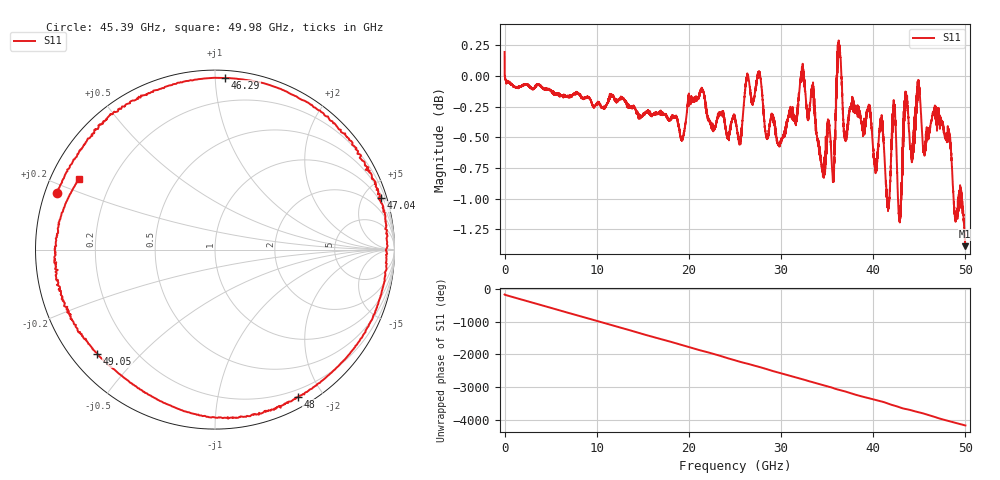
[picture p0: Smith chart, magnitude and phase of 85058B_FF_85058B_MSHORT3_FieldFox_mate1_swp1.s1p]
!Created with skrf (http://scikit-rf.org).
# Hz S RI R 50.0
!freq ReS11 ImS11
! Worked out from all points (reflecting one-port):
!   10001 points, 300 kHz to 50 GHz, reference 50 ohm
!   lowest |S11| = -1.4 dB at 49.99 GHz (marker M1), VSWR 12.55, Z = 4.23 + j12.3 ohm
!   phase of S11 starts at -175 deg and turns -3994 deg over the sweep
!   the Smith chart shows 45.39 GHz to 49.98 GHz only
!   S11 on the Smith chart (normalised r, x): 45.39 GHz: 0.03, +0.17; 46.29 GHz: 0.05, +1.06; 47.04 GHz: 0.76, +6.51; 48 GHz: 0.12, -1.70; 49.05 GHz: 0.07, -0.38; 49.98 GHz: 0.08, +0.24
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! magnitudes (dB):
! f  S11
! 300 kHz  0.2
! 6.25 GHz  -0.2
! 12.5 GHz  -0.2
! 18.75 GHz  -0.4
! 25 GHz  -0.3
! 27.57 GHz  0.0
! 28.46 GHz  -0.5
! 31.25 GHz  -0.3
! 32.33 GHz  0.0
! 34.56 GHz  -0.8
! 35.68 GHz  -0.9
! 36.29 GHz  0.2
! 36.94 GHz  -0.5
! 37.5 GHz  -0.3
! 40.24 GHz  -0.7
! 40.9 GHz  -0.3
! 41.6 GHz  -1.1
! 42.27 GHz  -0.3
! 42.87 GHz  -1.1
! 43.75 GHz  -0.3
! 45.39 GHz  -0.6
! 46.29 GHz  -0.4
! 47.04 GHz  -0.3
! 48 GHz  -0.5
! 49.05 GHz  -1.1
! 49.98 GHz  -1.4
! 49.99 GHz  -1.4
! 50 GHz  -1.4
